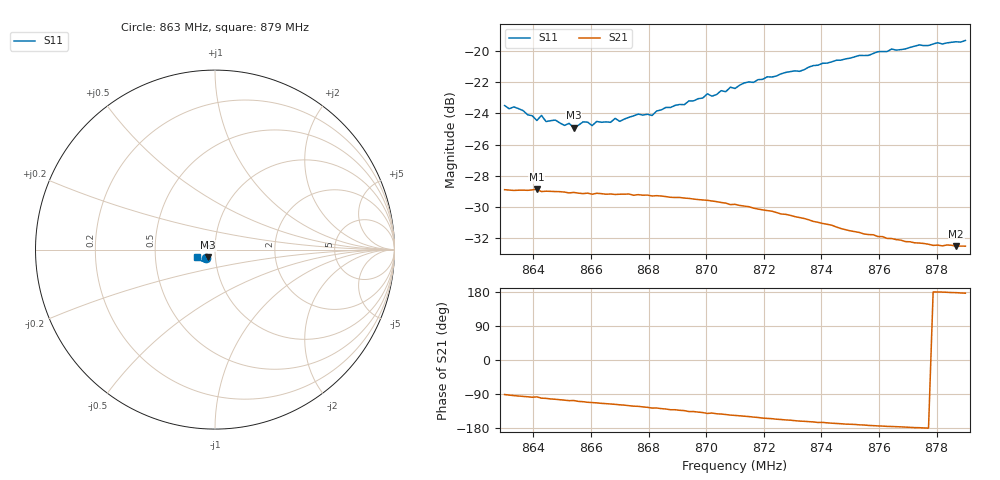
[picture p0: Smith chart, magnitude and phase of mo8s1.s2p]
# HZ S RI R 50
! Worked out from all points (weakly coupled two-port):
!   101 points, 863 MHz to 879 MHz, reference 50 ohm
!   highest |S21| = -28.85 dB at 864.12 MHz (marker M1); lowest = -32.5 dB at 878.68 MHz (marker M2)
!   lowest |S11| = -24.9 dB at 865.4 MHz (marker M3), VSWR 1.12, Z = 46.2 - j3.95 ohm
!   |S11| at or under -10 dB: start of sweep to end of sweep
!   S12 and S22 are empty: the file has one direction only
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8.63e8  -0.0501 -0.0443  -0.000695 -0.036  0 0  0 0
8.6364e8  -0.0477 -0.0433  -0.00378 -0.0356  0 0  0 0
8.6412e8  -0.0419 -0.0428  -0.00457 -0.0358  0 0  0 0
8.6428e8  -0.0432 -0.0447  -0.0066 -0.0349  0 0  0 0
8.6444e8  -0.0411 -0.043  -0.00696 -0.0349  0 0  0 0
8.6476e8  -0.0416 -0.0434  -0.00837 -0.0345  0 0  0 0
8.654e8  -0.0376 -0.0426  -0.0102 -0.0337  0 0  0 0
8.6572e8  -0.037 -0.0463  -0.012 -0.0328  0 0  0 0
8.6604e8  -0.0349 -0.046  -0.0132 -0.0322  0 0  0 0
8.662e8  -0.0366 -0.0469  -0.0138 -0.0322  0 0  0 0
8.6668e8  -0.0352 -0.0475  -0.0153 -0.0313  0 0  0 0
8.6684e8  -0.0364 -0.0488  -0.0158 -0.0309  0 0  0 0
8.67e8  -0.0348 -0.0483  -0.0165 -0.0306  0 0  0 0
8.6764e8  -0.0355 -0.0518  -0.0185 -0.0293  0 0  0 0
8.6812e8  -0.0336 -0.0523  -0.0206 -0.0275  0 0  0 0
8.6844e8  -0.0348 -0.0546  -0.0213 -0.0269  0 0  0 0
8.71e8  -0.0429 -0.0626  -0.0268 -0.018  0 0  0 0
8.7132e8  -0.0448 -0.0651  -0.0271 -0.0168  0 0  0 0
8.7372e8  -0.0599 -0.0669  -0.0273 -0.00812  0 0  0 0
8.7644e8  -0.0828 -0.0586  -0.025 -0.00195  0 0  0 0
8.7868e8  -0.0985 -0.0419  -0.0237 0.000935  0 0  0 0
8.79e8  -0.101 -0.0385  -0.0237 0.00155  0 0  0 0
